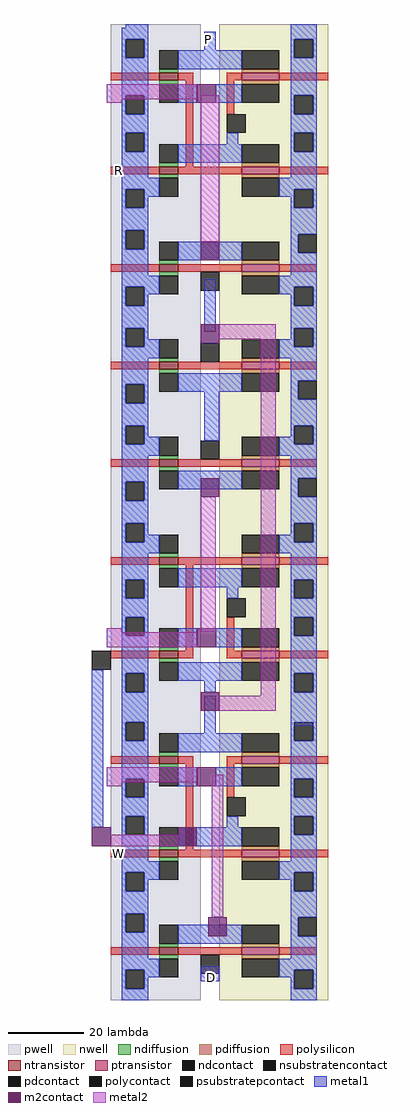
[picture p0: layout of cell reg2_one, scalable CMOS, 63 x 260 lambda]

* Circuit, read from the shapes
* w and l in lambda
.subckt reg2_one D GND! P R Vdd! W
M1 n1 D GND! GND! nfet w=5 l=2
M2 stat_reg_1/tg_0/EN W GND! GND! nfet w=5 l=2
M3 tg_5/out W n1 GND! nfet w=5 l=2
M4 n2 stat_reg_1/tg_0/EN tg_5/out GND! nfet w=5 l=2
M5 GND! stat_reg_1/tg_0/EN n3 GND! nfet w=5 l=2
M6 GND! n4 n2 GND! nfet w=5 l=2
M7 GND! tg_5/out n4 GND! nfet w=5 l=2
M8 n5 tg_5/out GND! GND! nfet w=5 l=2
M9 n6 R GND! GND! nfet w=5 l=2
M10 P R n5 GND! nfet w=5 l=2
M11 n1 D Vdd! Vdd! pfet w=10 l=2
M12 stat_reg_1/tg_0/EN W Vdd! Vdd! pfet w=10 l=2
M13 tg_5/out stat_reg_1/tg_0/EN n1 Vdd! pfet w=10 l=2
M14 n2 n3 tg_5/out Vdd! pfet w=10 l=2
M15 Vdd! stat_reg_1/tg_0/EN n3 Vdd! pfet w=10 l=2
M16 Vdd! n4 n2 Vdd! pfet w=10 l=2
M17 Vdd! tg_5/out n4 Vdd! pfet w=10 l=2
M18 n5 tg_5/out Vdd! Vdd! pfet w=10 l=2
M19 n6 R Vdd! Vdd! pfet w=10 l=2
M20 P n6 n5 Vdd! pfet w=10 l=2
.ends

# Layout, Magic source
magic
tech scmos
<< nwell >>
rect 34 259 63 260
<< pwell >>
rect 5 259 29 260
<< polysilicon >>
rect 5 220 11 222
rect 5 91 8 93
rect 5 38 12 40
<< polycontact >>
rect 0 88 5 93
<< metal1 >>
rect 9 259 15 260
rect 53 259 60 260
rect 30 253 33 258
rect 36 251 39 253
rect 30 178 33 192
rect 0 46 3 88
rect 30 71 33 81
rect 29 5 34 9
<< m2contact >>
rect 29 197 34 202
rect 0 41 5 46
rect 23 41 28 46
rect 31 17 36 22
<< metal2 >>
rect 29 202 34 241
rect 5 41 23 44
rect 32 22 35 60
use tg  tg_5
transform 1 0 -82 0 -1 120
box 87 43 145 94
use tg  tg_1
transform 1 0 -82 0 -1 302
box 87 43 145 94
use new_inv  new_inv_2
transform 1 0 -72 0 -1 30
box 77 4 135 30
use new_inv  new_inv_3
transform 1 0 -72 0 -1 212
box 77 4 135 30
use stat_reg  stat_reg_1
transform 1 0 5 0 1 73
box 0 0 58 109
<< labels >>
rlabel polysilicon 7 38 7 40 1 W
rlabel metal1 32 6 32 6 1 D
rlabel polysilicon 7 220 7 222 1 R
rlabel metal1 31 256 31 256 5 P
<< end >>

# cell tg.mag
magic
tech scmos
<< nwell >>
rect 116 43 145 94
<< pwell >>
rect 87 43 111 94
<< ntransistor >>
rect 100 80 105 82
rect 100 55 105 57
<< ptransistor >>
rect 122 80 132 82
rect 122 55 132 57
<< ndiffusion >>
rect 100 82 105 83
rect 100 79 105 80
rect 100 57 105 58
rect 100 54 105 55
<< pdiffusion >>
rect 122 82 132 83
rect 122 79 132 80
rect 122 57 132 58
rect 122 54 132 55
<< ndcontact >>
rect 100 83 105 88
rect 100 74 105 79
rect 100 58 105 63
rect 100 49 105 54
<< pdcontact >>
rect 122 83 132 88
rect 122 74 132 79
rect 122 58 132 63
rect 122 49 132 54
<< psubstratepcontact >>
rect 91 86 96 91
rect 91 71 96 76
rect 91 61 96 66
rect 91 46 96 51
<< nsubstratencontact >>
rect 136 86 141 91
rect 136 71 141 76
rect 136 61 141 66
rect 136 46 141 51
<< polysilicon >>
rect 87 80 100 82
rect 105 80 122 82
rect 132 80 145 82
rect 107 57 109 80
rect 87 55 100 57
rect 105 55 109 57
rect 118 57 120 66
rect 118 55 122 57
rect 132 55 145 57
<< polycontact >>
rect 118 66 123 71
<< metal1 >>
rect 90 91 97 94
rect 90 86 91 91
rect 96 88 97 91
rect 135 91 142 94
rect 135 88 136 91
rect 96 86 100 88
rect 90 83 100 86
rect 132 86 136 88
rect 141 86 142 91
rect 132 83 142 86
rect 90 76 97 83
rect 90 71 91 76
rect 96 71 97 76
rect 105 74 122 79
rect 135 76 142 83
rect 90 66 97 71
rect 118 71 121 74
rect 135 71 136 76
rect 141 71 142 76
rect 135 66 142 71
rect 90 61 91 66
rect 96 61 97 66
rect 90 51 97 61
rect 105 58 110 63
rect 115 58 122 63
rect 135 61 136 66
rect 141 61 142 66
rect 90 46 91 51
rect 96 46 97 51
rect 105 49 122 54
rect 135 51 142 61
rect 112 46 115 49
rect 135 46 136 51
rect 141 46 142 51
rect 90 43 97 46
rect 135 43 142 46
<< m2contact >>
rect 110 58 115 63
<< metal2 >>
rect 86 62 90 63
rect 86 58 110 62
<< labels >>
rlabel metal1 112 47 115 47 1 out
rlabel metal1 136 44 141 44 1 Vdd!
rlabel polysilicon 88 80 88 82 3 EN
rlabel metal1 136 92 141 92 5 Vdd!
rlabel metal1 91 92 96 92 5 GND!
rlabel metal1 91 44 96 44 1 GND!
<< end >>

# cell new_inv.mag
magic
tech scmos
<< nwell >>
rect 106 4 135 30
<< pwell >>
rect 77 4 101 30
<< ntransistor >>
rect 90 16 95 18
<< ptransistor >>
rect 112 16 122 18
<< ndiffusion >>
rect 90 18 95 19
rect 90 15 95 16
<< pdiffusion >>
rect 112 18 122 19
rect 112 15 122 16
<< ndcontact >>
rect 90 19 95 24
rect 90 10 95 15
<< pdcontact >>
rect 112 19 122 24
rect 112 10 122 15
<< psubstratepcontact >>
rect 81 22 86 27
rect 81 7 86 12
<< nsubstratencontact >>
rect 126 22 131 27
rect 127 8 132 13
<< polysilicon >>
rect 77 16 90 18
rect 95 16 112 18
rect 122 16 132 18
<< polycontact >>
rect 101 18 106 23
<< metal1 >>
rect 80 27 87 30
rect 80 22 81 27
rect 86 24 87 27
rect 125 27 132 30
rect 125 24 126 27
rect 86 22 90 24
rect 80 19 90 22
rect 80 12 87 19
rect 122 22 126 24
rect 131 22 132 27
rect 122 19 132 22
rect 80 7 81 12
rect 86 7 87 12
rect 95 10 112 15
rect 125 13 132 19
rect 80 4 87 7
rect 125 8 127 13
rect 125 4 132 8
<< labels >>
rlabel metal1 126 5 131 5 1 Vdd!
rlabel metal1 81 5 86 5 1 GND!
<< end >>

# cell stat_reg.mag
magic
tech scmos
<< nwell >>
rect 29 0 58 7
<< pwell >>
rect 0 0 24 7
<< polycontact >>
rect 24 97 29 102
rect 24 71 29 76
<< metal1 >>
rect 25 76 29 90
rect 3 1 10 7
rect 48 0 55 7
<< m2contact >>
rect 24 102 29 107
rect 24 61 29 66
rect 24 4 29 9
<< metal2 >>
rect 29 103 44 107
rect 24 25 28 61
rect 40 8 44 103
rect 29 4 44 8
use tg  tg_0
transform 1 0 -87 0 1 -37
box 86 43 145 94
use new_inv  new_inv_0
transform 1 0 -77 0 1 53
box 77 4 135 30
use new_inv  new_inv_1
transform 1 0 -77 0 1 79
box 77 4 135 30
<< end >>
